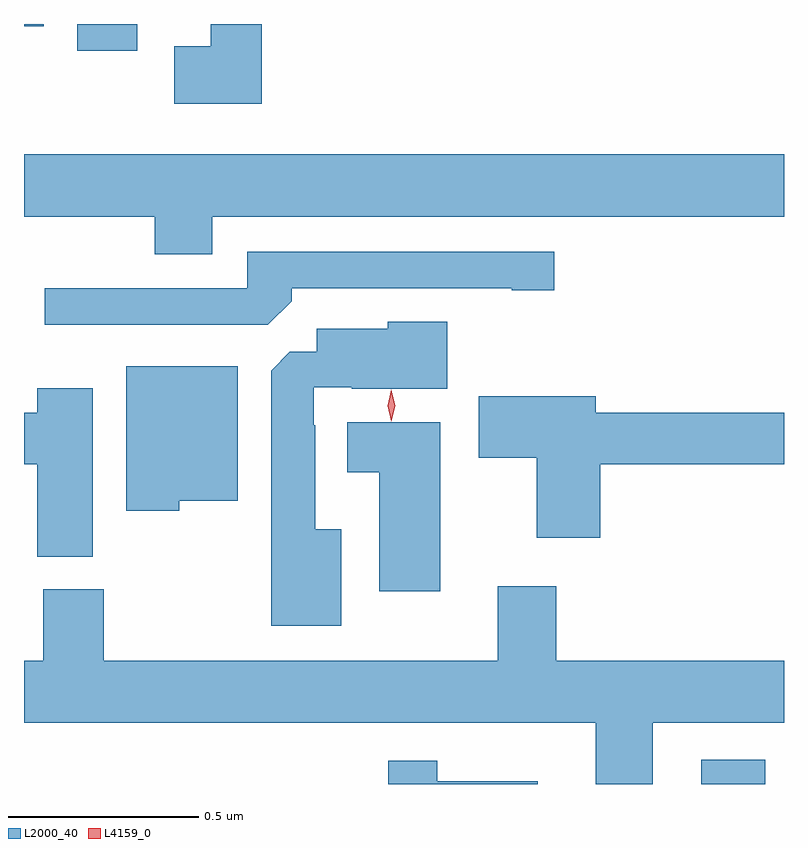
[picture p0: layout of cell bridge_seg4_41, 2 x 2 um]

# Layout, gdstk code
import gdstk
lib = gdstk.Library(unit=1e-6, precision=1e-09)
def R(c, l, rs):  # rectangles x0, y0, x1, y1
    for r in rs: c.add(gdstk.rectangle(r[:2], r[2:], *l))
def P(c, l, *ps):  # polygons
    for p in ps: c.add(gdstk.Polygon(p, *l))
L2000_40 = (2000, 40)
L4159_0 = (4159, 0)

bridge_seg4_41 = lib.new_cell('bridge_seg4_41')
R(bridge_seg4_41, L2000_40, [(679.251,828.627,679.419,828.691), (677.609,830.556,677.767,830.627), (677.469,830.621,677.521,830.627)])
P(bridge_seg4_41, L2000_40, [(678.095,830.627),(677.96,830.627),(677.96,830.569),(677.865,830.569),(677.865,830.417),(678.095,830.417)],
  [(677.965,830.12),(679.469,830.12),(679.469,830.284),(677.469,830.284),(677.469,830.12),(677.813,830.12),(677.813,830.021),(677.965,830.021)],
  [(678.173,829.898),(678.173,829.932),(678.752,829.932),(678.752,829.927),(678.865,829.927),(678.865,830.028),(678.057,830.028),(678.057,829.932),(677.523,829.932),(677.523,829.836),(678.111,829.836)],
  [(678.304,829.297),(678.235,829.297),(678.235,829.571),(678.231,829.571),(678.231,829.671),(678.331,829.671),(678.331,829.667),(678.583,829.667),(678.583,829.843),(678.426,829.843),(678.426,829.825),(678.239,829.825),(678.239,829.764),(678.168,829.764),(678.119,829.715),(678.119,829.043),(678.304,829.043)],
  [(677.877,829.373),(678.031,829.373),(678.031,829.726),(677.738,829.726),(677.738,829.346),(677.877,829.346)],
  [(677.65,829.669),(677.504,829.669),(677.504,829.604),(677.469,829.604),(677.469,829.468),(677.504,829.468),(677.504,829.225),(677.65,829.225)],
  [(678.986,829.468),(679.469,829.468),(679.469,829.604),(678.973,829.604),(678.973,829.648),(678.666,829.648),(678.666,829.486),(678.818,829.486),(678.818,829.275),(678.986,829.275)],
  [(678.565,829.579),(678.32,829.579),(678.32,829.448),(678.404,829.448),(678.404,829.134),(678.565,829.134)],
  [(679.123,828.788),(679.469,828.788),(679.469,828.952),(678.869,828.952),(678.869,829.147),(678.716,829.147),(678.716,828.952),(677.679,828.952),(677.679,829.14),(677.519,829.14),(677.519,828.952),(677.469,828.952),(677.469,828.788),(678.974,828.788),(678.974,828.627),(679.123,828.627)],
  [(678.821,828.634),(678.556,828.634),(678.556,828.688),(678.427,828.688),(678.427,828.627),(678.821,828.627)])
P(bridge_seg4_41, L4159_0, [(678.436,829.582),(678.436,829.582),(678.426,829.623),(678.436,829.664),(678.436,829.664),(678.436,829.664),(678.446,829.623),(678.436,829.582)])

lib.write_gds('bridge_seg4_41.gds')
